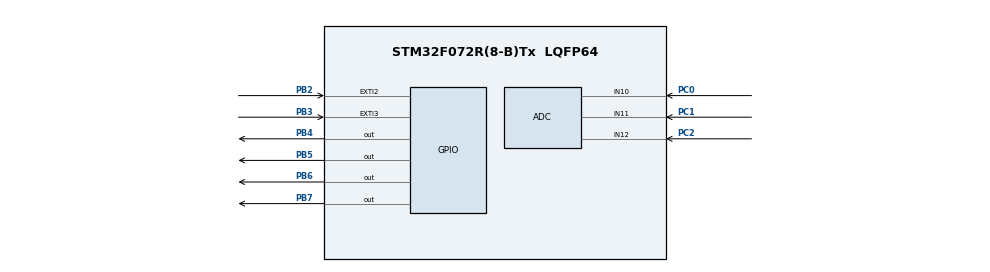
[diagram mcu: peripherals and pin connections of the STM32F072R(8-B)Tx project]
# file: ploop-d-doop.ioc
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Mcu.Family=STM32F0
Mcu.Name=STM32F072R(8-B)Tx
Mcu.Package=LQFP64
NVIC.EXTI2_3_IRQn=true\:0\:0\:false\:false\:true\:true\:true\:true
PA0.Signal=S_TIM2_CH1_ETR
PA1.Signal=S_TIM2_CH2
PB2.Signal=GPXTI2
PB3.Signal=GPXTI3
PB4.Signal=GPIO_Output
PB5.Signal=GPIO_Output
PB6.Signal=GPIO_Output
PB7.Signal=GPIO_Output
PC0.Mode=IN10
PC0.Signal=ADC_IN10
PC1.Mode=IN11
PC1.Signal=ADC_IN11
PC2.Mode=IN12
PC2.Signal=ADC_IN12
ProjectManager.HeapSize=0x200
ProjectManager.StackSize=0x400
ProjectManager.TargetToolchain=MDK-ARM V5.32
SH.S_TIM2_CH1_ETR.0=TIM2_CH1
SH.S_TIM2_CH2.0=TIM2_CH2
board=custom

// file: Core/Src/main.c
/* USER CODE BEGIN Header */
/**
  ******************************************************************************
  * @file           : main.c
  * @brief          : Main program body
  ******************************************************************************
  * @attention
  *
  * Copyright (c) 2023 STMicroelectronics.
  * All rights reserved.
  *
  * This software is licensed under terms that can be found in the LICENSE file
  * in the root directory of this software component.
  * If no LICENSE file comes with this software, it is provided AS-IS.
  *
  ******************************************************************************
  */
/* USER CODE END Header */
#include "main.h"

ADC_HandleTypeDef hadc;

struct LEDs {
  uint8_t red;
  uint8_t orange;
  uint8_t green;
  uint8_t blue;
  void (*set)(struct LEDs*);
} leds;

struct UART_INT {
  void (*transmit)(uint16_t);
} uart;

void SystemClock_Config(void);
static void MX_GPIO_Init(void);
static void MX_ADC_Init(void);

void setLEDs(struct LEDs* this) {
  GPIOC->ODR &= ((this->green << 9) | (this->orange << 8) | (this->blue << 7) | (this->red << 6));
  GPIOC->ODR |= ((this->green << 9) | (this->orange << 8) | (this->blue << 7) | (this->red << 6));
}

void initLEDs(struct LEDs* this) {
  RCC->AHBENR |= RCC_AHBENR_GPIOCEN;
  GPIOC->MODER &= ~(0xFF000);
  GPIOC->MODER |= 0x55000;
  this->red = 0;
  this->orange = 0;
  this->green = 0;
  this->blue = 0;
  this->set = &setLEDs;
}

void transmitValue(uint8_t val) {
  // Wait until our tx reg is ready
  volatile int wait = 1;
  while (wait)
    if (USART3->ISR & 0x80)
      wait = 0;
  // Write to tx reg
  USART3->TDR = val;
}

void transmit2bytes(uint16_t val) {
  transmitValue((uint8_t)(val >> 8));
  transmitValue((uint8_t)val);
}

void transmitChar(char c) {
    // Wait until our tx reg is ready
    volatile int wait = 1;
    while (wait)
        if (USART3->ISR & 0x80)
            wait = 0;
    // Write to tx reg
    USART3->TDR = c;
}

void transmitString(char* s) {
    while (*s != 0) {
        transmitChar(*s++);
    }
}

void initUart(struct UART_INT* this) {
  // Set PC10 and PC11 to alt fx mode
  RCC->AHBENR |= RCC_AHBENR_GPIOCEN;
  GPIOC->MODER &= ~(0xF00000);    // Clear
  GPIOC->MODER |= 0xA00000;   		 // 1010

  // Set PC10 to AF1 for USART3_TX/RX
  GPIOC->AFR[1] &= ~(0xFF00);   	 // Clear
  GPIOC->AFR[1] |= 0x1100;   		 // Set 11 and 10 to 000

  // Enable system clock for USART3
  RCC->APB1ENR |= RCC_APB1ENR_USART3EN;

  // Set Baud rate
  uint64_t t_baud = 9600;
  uint64_t f_clk = SystemCoreClock;
  uint64_t brr = f_clk/t_baud;
  USART3->BRR &= ~(0xFFFFFFFF);   	 // Clear
  USART3->BRR |= brr;

  // Enable tx
  USART3->CR1 |= (1 << 3);

  // Enable rx
  USART3->CR1 |= (1 << 2);

  // Enable rx not-empty interrupt
  USART3->CR1 |= (1 << 5);

  // Enable USART
  USART3->CR1 |= (1 << 0);

  // Enable USART3 interrupt on NVIC
  NVIC_EnableIRQ(USART3_4_IRQn);
  NVIC_SetPriority(USART3_4_IRQn, 1);
  this->transmit = &transmit2bytes;
}

#include <stdint.h>
#include <stdbool.h>
#define NUM_MOTORS 2
#define NUM_SENSORS 3
#define Kp 1            // Proportional gain
#define Ki 1            // Integral gain
#define REDLED (6)
#define BLUELED (7)
#define ORANGELED (8)
#define GREENLED (9)

void stop(void);
void move(uint8_t direction);
void moveForward(void);
void moveRight(void);
void moveBackward(void);
void moveLeft(void);
void hokeyPokey(void);
void initSensors(void);

/* A struct representing the state of a single motor */
struct Motor {
    uint8_t id;                         // Which motor this object represents (1-4)
    int direction;                      // Direction of movement (<0 = reverse; >0 = forward)
    int16_t target_ticks;               // Aka desired speed target
    uint16_t num_ticks;                 // Aka motor speed
    uint16_t error;                     // Speed error signal
    uint16_t error_integral;            // Integrated error signal
    uint16_t error_distance;            // Distance error signal
    void (*spin)(struct Motor*, uint16_t, int);
    void (*stop)(struct Motor*);
    void (*setCycle)(struct Motor*, uint8_t);
    void (*correctError)(struct Motor*, uint64_t);

    // Pointers to the pins that control this motor (convenience variables)
    GPIO_TypeDef *pwmGpio;
    uint8_t pwm_in_pin;
    uint8_t pwm_alt_fxn_code;
    TIM_TypeDef *pwmTimer;

    GPIO_TypeDef *dirGpio;
    uint8_t dir_pin_A;
    uint8_t dir_pin_B;
};

// Order: left, right
struct Motor motors[NUM_MOTORS];
uint64_t encoderCounts[] = { 0, 0};

void initPWM(void);

// Initializes entire class and structure necessary for motion
void initMotion(void);

// Initializes all four motor structs
void initMotors(void);

// Initializes direction pins for all four motors
void initDirection(void);

// Sets up all PWM pins and direction signals to drive the H-Bridges
void initPWMs(void);

// Sets up GPIO inputs for encoder signals + sets up timer for speed check interrupts
void initEncoders(void);

// PI control code is called within a timer interrupt
void PI_update(struct Motor*, uint64_t);

// Set the duty cycle of the PWM, accepts (0-100)
void pwm_setDutyCycle(struct Motor*, uint8_t);

// Go at given speed
void spinMotor(struct Motor*, uint16_t, int);

// Don't go
void stopMotor(struct Motor*);

struct Filter {
  uint64_t fOut;
  uint8_t shft;
  uint64_t (*filter)(struct Filter*, uint16_t fIn);
};

void initFilter(struct Filter* this,
                uint8_t shift,
                uint64_t (*filterFunction)(struct Filter*, uint16_t),
                uint16_t dIn);

uint64_t geometric(struct Filter*, uint16_t fIn);

struct Sensor {
  uint32_t pin;
  uint16_t (*read)(struct Sensor*);
};
struct Sensor sensors[NUM_SENSORS];

void initSensor(struct Sensor*, uint32_t);
uint16_t readSensor(struct Sensor*);

struct SensorData {
  struct Sensor sensor;
  struct Filter filter;
  uint64_t mean; // may need to create a comparator logic class
  uint8_t var;
  uint64_t (*get)(struct SensorData*);
  void (*setMean)(struct SensorData*);
  void (*setVar)(struct SensorData*);
  bool (*diverges)(struct SensorData*);
};

// todo: once we are done testing, can use initSensors instead of initSensorData
void initSensorData(struct SensorData*);
uint64_t getSensorData(struct SensorData*);
void setMean(struct SensorData*);
void setVar(struct SensorData*);
bool diverges(struct SensorData*);

int main(void)
{

  /* MCU Configuration--------------------------------------------------------*/

  /* Reset of all peripherals, Initializes the Flash interface and the Systick. */
  HAL_Init();

  /* USER CODE BEGIN Init */
  initLEDs(&leds);
  initUart(&uart);
  initMotion();
  leds.red = 1;
  leds.set(&leds);

  /* USER CODE END Init */

  /* Configure the system clock */
  SystemClock_Config();

  /* Initialize all configured peripherals */
  MX_GPIO_Init();
  MX_ADC_Init();
  /* USER CODE BEGIN 2 */
  // transmitString("\033[2J\033[H");
  // transmitString("I am here!\r\n");

  /* USER CODE END 2 */
  // todo: comment this in after testing
  //initSensors();

  /* Infinite loop */
  /* USER CODE BEGIN WHILE */
  stop();
  moveForward();
  leds.blue = !leds.blue;
  leds.red = 0;
  leds.set(&leds);
  HAL_Delay(1000);
  stop();
  HAL_Delay(1000);
  while (1)
  {
    leds.red = leds.blue;
    leds.blue = !leds.blue;
    leds.set(&leds);
    HAL_Delay(500);
    /* USER CODE END WHILE */

  }

  // TODO: comment this back in after testing
    // if (DRAG_MODE) {
    //     moveForward();
    // } else {
    //     moveForward();
    //     hokeyPokey();
    // }
}

/**
  * @brief This function handles EXTI line 2 and 3 interrupts.
  */
// void EXTI2_3_IRQHandler(void)
// {
//   /* USER CODE BEGIN EXTI2_3_IRQn 0 */
//   leds.green = !leds.green;
//   leds.set(&leds);

//   /* USER CODE END EXTI2_3_IRQn 0 */
//   HAL_GPIO_EXTI_IRQHandler(GPIO_PIN_2);
//   HAL_GPIO_EXTI_IRQHandler(GPIO_PIN_3);
//   /* USER CODE BEGIN EXTI2_3_IRQn 1 */

//   /* USER CODE END EXTI2_3_IRQn 1 */
// }

void calibrate_ADC_manual() {
  // Ensure ADEN = 0
  if ((ADC1->CR & ADC_CR_ADEN) != 0) {
    // Clear ADEN
    ADC1->CR |= ADC_CR_ADDIS;
  }
  while ((ADC1->CR & ADC_CR_ADEN) != 0) { }
  // Clear DMAEN
  ADC1->CFGR1 &= ~ADC_CFGR1_DMAEN;

  // Launch calibration
  ADC1->CR |= ADC_CR_ADCAL;

  // Wait until ADCAL = 0
  while ((ADC1->CR & ADC_CR_ADCAL) != 0) {
  }
}

void initSensor(struct Sensor* this, uint32_t pinNum) {
  this->pin = pinNum;
  this->read = &readSensor;

  // Configure PC0 to analog mode
  GPIOC->MODER &= ~(0x3);   		 // Clear
  GPIOC->MODER |= 0x3;

  // Enable ADC1 in RCC
  RCC->APB2ENR |= RCC_APB2ENR_ADCEN;

  /*** Configure ADC ***/
  // Set 8-bit resolution
  ADC1->CFGR1 |= (1 << 4);

  // Turn off hardware triggers
  ADC1->CFGR1 &= ~((1 << 10) | (1 << 11));

  // Turn on continuous conversion mode
  ADC1->CFGR1 |= (1 << 13);

  // short analogPin = (1 << 10) | (1 << 13) | (1 << 14);
  short analogPin = (1 << 10);

  ADC1->CHSELR &= ~(analogPin);
  ADC1->CHSELR |=  (analogPin);

  ADC1->CFGR1 &= ~((1 << 10) | (1 << 11));

  calibrate_ADC_manual();

  ADC1->CHSELR &= ~(analogPin);
  ADC1->CHSELR |= 1 << 10;

  // Ensure ADSTP, ADSTART, ADDIS are = 0
  ADC1->CR &= ~(1 << 4); //STP
  ADC1->CR &= ~(1 << 2); //START
  ADC1->CR &= ~(1 << 1); //DIS

  ADC1->CR |= 0x1;

  ADC1->CR |= 1 << 2;
}

uint16_t readSensor(struct Sensor* this) {
  ADC1->CHSELR |= 1 << this->pin;
  // for(volatile int i = 0; i < 2400; i++) {}
  uint16_t data = ADC1->DR;
  ADC1->CHSELR &= ~(1 << this->pin);
  return data;
}

void initSensorData(struct SensorData* this) {
  initSensor(&this->sensor, 0);
  initFilter(&this->filter, 8, &geometric, this->sensor.read(&this->sensor));
  this->get = &getSensorData;
  this->setMean = &setMean;
  this->setVar = &setVar;
  this->diverges = &diverges;
  this->setMean(this);
  this->mean = this->filter.fOut;
  this->setVar(this);
}

uint64_t getSensorData(struct SensorData* this) {
  return this->filter.filter(&this->filter,this->sensor.read(&this->sensor));
}

void setMean(struct SensorData* this) {
  for(uint16_t i = 0; i < (1 <<this->filter.shft); i++)
    this->filter.filter(&this->filter,this->sensor.read(&this->sensor));

  this->mean = this->filter.fOut << this->filter.shft;
  for(uint16_t i = 0; i < (1 << (this->filter.shft)); i++)
    this->mean += this->filter.filter(&this->filter,this->sensor.read(&this->sensor))
                - (this->mean >> this->filter.shft);
  this->mean = this->mean >> (this->filter.shft);
}

void setVar(struct SensorData* this) {
  for(uint16_t i = 0; i < (1 << this->filter.shft); i++)
    this->var +=
        this->filter.filter(&this->filter,this->sensor.read(&this->sensor))
        - this->mean;
  this->var = (this->var >> this->filter.shft);
}

bool diverges(struct SensorData* this) {
  return (this->filter.fOut - this->mean) > 1000;
}

uint64_t geometric(struct Filter* this, uint16_t fIn) {
  this->fOut += fIn - (this->fOut >> this->shft);
  return this->fOut;
}

void initFilter(struct Filter* this,
                uint8_t shift,
                uint64_t (*filterFunction)(struct Filter*, uint16_t),
                uint16_t dIn) {
  this->shft = shift;
  this->fOut = 193 << shift;
  this->filter = filterFunction;
}

void fillDirPins(int *allPins);
// Sets up the entire motor drive system
void initMotion() {
    initMotors();
    initPWM();
    initEncoders();
}

/* Initializes all motors in the forward direction in a stopped state */
void initMotors() {
    int pwm_in_pins[] = {0, 1};
    int mtr_A_dir_pins[] = {4, 5};
    int mtr_B_dir_pins[] = {6, 7};

    for (int i = 0; i < NUM_MOTORS; i++) {
        struct Motor *motor = &(motors[i]);
        motor->id = i + 1; // Range is 1-2
        motor->direction = 1;
        motor->target_ticks = 100;
        motor->num_ticks = 0;
        motor->error = 0;
        motor->error_integral = 0;

        motor->setCycle = &pwm_setDutyCycle;
        motor->correctError = &PI_update;
        motor->spin = &spinMotor;
        motor->stop = &stopMotor;

        motor->pwmGpio = GPIOA;
        motor->pwm_in_pin = pwm_in_pins[i];

        motor->dirGpio = GPIOB;
        switch (i) {
            case 0:
                motor->dir_pin_A = mtr_A_dir_pins[0];
                motor->dir_pin_B = mtr_A_dir_pins[1];
                break;
            case 1:
                motor->dir_pin_A = mtr_B_dir_pins[0];
                motor->dir_pin_B = mtr_B_dir_pins[1];
                break;
        }
    }
}

// Sets up the PWM and direction signals to drive the H-Bridge
void initPWM() {
    RCC->AHBENR |= RCC_AHBENR_GPIOAEN | RCC_AHBENR_GPIOBEN;

    // Set up pin PA0-1 for H-bridge PWM output (TIMER 2 CH1-2)
    GPIOA->MODER |= (1 << 1);
    GPIOA->MODER &= ~(1 << 0);
    GPIOA->MODER |= (1 << 3);
    GPIOA->MODER &= ~(1 << 2);

    // Set PA0-1 to AF1
    GPIOA->AFR[0] &= 0xFFFFFF00; // clear PA4 bits,
    GPIOA->AFR[0] |= (1 << 1);
    GPIOA->AFR[0] |= (1 << 5);

    // Set up GPIO output pins for motor direction control
    int allDirPins[4] = {4, 5, 6, 7};
    GPIOB->MODER &= (0xFF << 4);    // Clear
    for (int i = 0; i < (NUM_MOTORS * 2); i++) {
        int pinIdx = allDirPins[i] * 2;
        GPIOB->MODER &= ~(11 << pinIdx);  // Clear
        GPIOB->MODER |= (1 << pinIdx);    // Assign
    }

    // For each motor, initialize one direction pin to high, the other low
    for (int i = 0; i < (NUM_MOTORS*2); i++) {
        int pinIdx = allDirPins[i];
        // Set pins in even indices high, odd indices low
        if (i%2 == 0) {
            GPIOB->ODR |= (1 << pinIdx);
        } else {
            GPIOB->ODR &= ~(1 << pinIdx);
        }
    }

    // Set up PWM timer
    RCC->APB1ENR |= RCC_APB1ENR_TIM2EN;
    TIM2->CR1 = 0;                          // Clears; defaults to edge-aligned upcounting
    TIM2->CCMR1 = 0;                        // (prevents having to manually clear bits)
    TIM2->CCER = 0;

    // Set output-compare CH1-4 to PWM1 mode and enable CCR1 preload buffer
    TIM2->CCMR1 |= (TIM_CCMR1_OC1M_2 | TIM_CCMR1_OC1M_1); //| TIM_CCMR1_OC1PE); // Enable channel 1
    TIM2->CCMR1 |= (TIM_CCMR1_OC2M_2 | TIM_CCMR1_OC2M_1); //| TIM_CCMR1_OC2PE); // Enable channel 2

    TIM2->CCER |= (TIM_CCER_CC1E | TIM_CCER_CC2E);        // Enable capture-compare channel 1-2
    TIM2->PSC = 1;                         // Run timer on 24Mhz
    TIM2->ARR = 2400;                      // PWM at 20kHz

    TIM2->CCR1 = 2000;                        // Start PWMs at 0% duty cycle
    TIM2->CCR2 = 2000;

    TIM2->CR1 |= TIM_CR1_CEN;              // Enable timer

    // DEBUGGING
    //TIM2->EGR |= 1; // todo: forces register update
}

/* Sets up four GPIO pins for inputs and enable interrupts on rising and falling edge of encoder wave.
 * Sets up timer for speed calculation and PI updates. */
void initEncoders() {
    // Enable EXTI in NVIC
    RCC->AHBENR |= RCC_AHBENR_GPIOBEN;
    __HAL_RCC_SYSCFG_CLK_ENABLE();

    // GPIOB2-3
    // Clear to input mode
    GPIOB->MODER &= ~(1 << 5);
    GPIOB->MODER &= ~(1 << 4);
    GPIOB->MODER &= ~(1 << 7);
    GPIOB->MODER &= ~(1 << 6);

    // Clear to low speed
    GPIOB->OSPEEDR &= ~(1 << 5);
    GPIOB->OSPEEDR &= ~(1 << 4);
    GPIOB->OSPEEDR &= ~(1 << 7);
    GPIOB->OSPEEDR &= ~(1 << 6);

    // Set up pull-up resistor
    GPIOB->PUPDR &= ~(1 << 5);
    GPIOB->PUPDR &= ~(1 << 4);
    GPIOB->PUPDR |= (1 << 4);
    GPIOB->PUPDR &= ~(1 << 5);
    GPIOB->PUPDR &= ~(1 << 4);
    GPIOB->PUPDR |= (1 << 4);

    // Turn on interrupts
    EXTI->IMR &= ~(1 << 2);
    EXTI->IMR |= (1 << 2);
    EXTI->IMR &= ~(1 << 3);
    EXTI->IMR |= (1 << 3);

    // Turn on rising trigger
    EXTI->RTSR &= ~(1 << 2);
    EXTI->RTSR |= (1 << 2);
    EXTI->RTSR &= ~(1 << 3);
    EXTI->RTSR |= (1 << 3);

    // Turn on falling trigger
    EXTI->FTSR &= ~(1 << 2);
    EXTI->FTSR |= (1 << 2);
    EXTI->FTSR &= ~(1 << 3);
    EXTI->FTSR |= (1 << 3);

    // Enable SYSCFG peripheral (this is on APB2 bus)
    RCC->APB2RSTR |= RCC_APB2RSTR_SYSCFGRST;
    __HAL_RCC_SYSCFG_CLK_ENABLE();
    // uint32_t tmp = 0;
    // while(tmp != 0) {
    //     RCC->APB2ENR |= RCC_APB2ENR_SYSCFGCOMPEN;
    //     tmp = RCC->APB2ENR & RCC_APB2ENR_SYSCFGEN;
    // }
    // todo: is this correct or do we need to do more to enable here?

    // Configure multiplexer to route PA2-3 to EXTI1
    SYSCFG->EXTICR[0] |= SYSCFG_EXTICR1_EXTI2_PB | SYSCFG_EXTICR1_EXTI3_PB;

    // Enable interrupts
    NVIC_EnableIRQ(EXTI2_3_IRQn);
    NVIC_SetPriority(EXTI2_3_IRQn, 1);

    // Configure a second timer (TIM6) to fire an ISR on update event
    // Used to periodically check and update speed variable
    RCC->APB1ENR |= RCC_APB1ENR_TIM6EN;

    // Select PSC and ARR values that give an appropriate interrupt rate
    TIM6->PSC = 11;
    TIM6->ARR = 30000;

    TIM6->DIER |= TIM_DIER_UIE;             // Enable update event interrupt
    TIM6->CR1 |= TIM_CR1_CEN;               // Enable Timer

    NVIC_EnableIRQ(TIM6_DAC_IRQn);          // Enable interrupt in NVIC
    NVIC_SetPriority(TIM6_DAC_IRQn, 2);
}

// Encoder interrupt to calculate motor speed, also manages PI controller
void TIM6_DAC_IRQHandler(void) {
    /* Calculate the motor speed in raw encoder counts
     * Note the motor speed is signed! Motor can be run in reverse.
     * Speed is measured by how far the counter moved from center point
     */
    // transmitString("TIM6 is here\r\n");

    uint64_t tickSum = 0;
    for (int i = 0; i < NUM_MOTORS; i++) {
        struct Motor *motor = &motors[i];
        motor->num_ticks = encoderCounts[i];    // Assign count value to appropriate struct
        tickSum += encoderCounts[i];
        encoderCounts[i] = 0;                   // Reset
    }
    uint64_t avgTicks = tickSum / NUM_MOTORS;
    for (int i = 0; i < NUM_MOTORS; i++) {
        struct Motor *motor = &motors[i];
        motor->correctError(motor, avgTicks);
    }
    TIM6->SR &= ~TIM_SR_UIF;        // Acknowledge the interrupt
//    leds.green = 0;
//    leds.set(&leds);
}

/* The handler fired for each tick interrupt.
 * Increments the appropriate count variable according to which encoder fired the event. */
void EXTI2_3_IRQHandler(void) {
    // transmitString("EXTI2_3_IRQHandler is here\r\n");

    HAL_GPIO_EXTI_IRQHandler(GPIO_PIN_2);
    HAL_GPIO_EXTI_IRQHandler(GPIO_PIN_3);

    // NOTE: there is no way to make this pin agnostic, have to manually update consts below if pins are changed
    int ENC_PINS[] = {2, 3};
    int COUNT_IDX_OFFSET = 7;

    // Check which bit is pending (represents which encoder fired tick interrupt)
    for (int i = 0; i < NUM_MOTORS; i++) {
        int pinIdx = ENC_PINS[i];

        uint16_t pinIsPending = EXTI->PR & (1 << pinIdx);
        if (pinIsPending) {
            // Get corresponding count index and increment
            int countIdx = pinIdx - COUNT_IDX_OFFSET;
            encoderCounts[countIdx] += 1;

            // Clear pending interrupt flag
            EXTI->PR &= ~(1 << pinIdx);
        }
    }

//    leds.green = 0;
//    leds.set(&leds);
}

// Calculates error for single motor and resets PWM signal
void PI_update(struct Motor *this, uint64_t avgDist) {

    // Calculate error signal
    this->error = (this->target_ticks - this->num_ticks);

    // Calculate integral error
    this->error_integral += this->error;

    // Clamp the value of the integral to a positive range
    this->error_integral = (this->error_integral > 3200) ? 3200 : this->error_integral;
    this->error_integral = (this->error_integral > 0) ? 0 : this->error_integral;

    // Calculate mean distance traveled by both wheels (in units of ticks)
    this->error_distance = avgDist - this->error_distance;

    // Calculate proportional error & add to output
    int16_t output = Ki * this->error_integral + Kp * this->error;

    // Divide output to get value into proper range (0-100)
    output = output >> 5;

    // Clamp the value for PWM input range
    output = (output > 100) ? 100 : (output < 0) ? 0 : output;

    this->setCycle(this, output);
}

// Set the duty cycle of the PWM, accepts (0-100)
void pwm_setDutyCycle(struct Motor *this, uint8_t duty) {
    uint32_t TEST_VAL = 1000;
    if(duty <= 100) {

//        // DEBUGGING
//        leds.orange = 1;
//        leds.set(&leds);

        // uint32_t autoReload = this->pwmTimer->ARR;
        uint8_t motorIdx = this->id;
        switch (motorIdx) {
            case 1:
                // todo: change this back after testing
                //this->pwmTimer->CCR1 = ((uint32_t)duty * autoReload)/100;  // Use linear transform to produce CCR1 value
                TIM2->CCR1 = TEST_VAL;
                break;
            case 2:
                //this->pwmTimer->CCR2 = ((uint32_t)duty * autoReload)/100;  // Use linear transform to produce CCR1 value
                TIM2->CCR2 = TEST_VAL;
                break;
        }

//        // DEBUGGING
//        leds.orange = 0;
//        leds.set(&leds);
    }
}

/* Sets the target RPM and direction for this motor */
// todo: we are getting through this
void spinMotor(struct Motor *this, uint16_t targetRpm, int dir) {
  leds.orange = 1;
  leds.set(&leds);
    if (targetRpm > 0) {
        this->target_ticks = targetRpm;
        uint8_t pinIdxA = this->dir_pin_A;
        uint8_t pinIdxB = this->dir_pin_B;

        if (dir > 0) {
            // Pin A to high, pin B to low
            this->dirGpio->ODR |= (1 << pinIdxA);
            this->dirGpio->ODR &= ~(1 << pinIdxB);
        } else if (dir < 0) {
            this->dirGpio->ODR |= (1 << pinIdxB);
            this->dirGpio->ODR &= ~(1 << pinIdxA);
        }
    }
}

/* Mode used for obstacle course */
void hokeyPokey() {
    int THRESHOLD_DIST = 10;

    struct Sensor *left_sensor = &(sensors[0]);
    struct Sensor *center_sensor = &(sensors[1]);
    struct Sensor *right_sensor = &(sensors[2]);

    // Poll values in sensors
    while(1) {
        uint16_t left_dist = left_sensor->read(left_sensor);
        uint16_t center_dist = center_sensor->read(center_sensor);
        uint16_t right_dist = right_sensor->read(right_sensor);

        // Stop if any of our sensors have a close value
        if ((left_dist > THRESHOLD_DIST) || (center_dist > THRESHOLD_DIST) || (right_dist > THRESHOLD_DIST)) {
            stop();
        }

        int leftDetect = left_dist - THRESHOLD_DIST > 0;
        int centerDetect = center_dist = THRESHOLD_DIST > 0;
        int rightDetect = right_dist - THRESHOLD_DIST > 0;

        // todo: fill in
        if (leftDetect && centerDetect && rightDetect) {

        } else if (leftDetect && centerDetect) {

        } else if (rightDetect && centerDetect) {

        } else if (leftDetect && rightDetect) {

        } else if (leftDetect) {

        } else if (centerDetect) {

        } else if (rightDetect) {

        } else {
            moveForward();
        }
        // todo: add delay here
    }
}

/* Stops the motor by setting the target RPM to zero. Does not affect direction. */
void stopMotor(struct Motor *this) {
    this->target_ticks = 0;
}

// Convenience methods
void stop() {
    move(0);
}

void moveForward() {
    move(1);
}

void moveRight() {
    move(2);
}

void moveBackward() {
    move(3);
}

void moveLeft() {
    move(4);
}

// Actual movement logic
void move(uint8_t direction) {
    const int FORWARD = 1;
    const int REVERSE = -1;
    const int TARGET_RPM = 100; // todo: placeholder

    struct Motor *left = &motors[0];
    struct Motor *right = &motors[1];

    leds.green = 1;
    leds.set(&leds);

    switch (direction) {
        case 0: // Stop
            motors[0].stop(&(motors[0]));
            motors[1].stop(&(motors[1]));
            break;
        case 1: // Forward
            left->spin(left, TARGET_RPM, FORWARD);
            right->spin(right, TARGET_RPM, FORWARD);
            break;
        case 2: // Right
            left->spin(left, TARGET_RPM, FORWARD);
            right->spin(right, TARGET_RPM, REVERSE);
            break;
        case 3: // Backward
            left->spin(left, TARGET_RPM, REVERSE);
            right->spin(right, TARGET_RPM, REVERSE);
            break;
        case 4: // Left
            left->spin(left, TARGET_RPM, REVERSE);
            right->spin(right, TARGET_RPM, FORWARD);
            break;
    }

    leds.orange = 1;
    leds.set(&leds);
}

/* Initializes three IR sensors */
void initSensors() {
    uint32_t sensorPins[3] = {0, 1, 2};
    for (int i = 0; i < NUM_SENSORS; i++) {
        struct Sensor *sensor = &(sensors[i]);
        initSensor(sensor, sensorPins[i]);
    }
    // todo: may need to init filter here too
}

void SystemClock_Config(void)
{
  RCC_OscInitTypeDef RCC_OscInitStruct = {0};
  RCC_ClkInitTypeDef RCC_ClkInitStruct = {0};

  /** Initializes the RCC Oscillators according to the specified parameters
  * in the RCC_OscInitTypeDef structure.
  */
  RCC_OscInitStruct.OscillatorType = RCC_OSCILLATORTYPE_HSI|RCC_OSCILLATORTYPE_HSI14;
  RCC_OscInitStruct.HSIState = RCC_HSI_ON;
  RCC_OscInitStruct.HSI14State = RCC_HSI14_ON;
  RCC_OscInitStruct.HSICalibrationValue = RCC_HSICALIBRATION_DEFAULT;
  RCC_OscInitStruct.HSI14CalibrationValue = 16;
  RCC_OscInitStruct.PLL.PLLState = RCC_PLL_NONE;
  if (HAL_RCC_OscConfig(&RCC_OscInitStruct) != HAL_OK)
  {
    Error_Handler();
  }

  /** Initializes the CPU, AHB and APB buses clocks
  */
  RCC_ClkInitStruct.ClockType = RCC_CLOCKTYPE_HCLK|RCC_CLOCKTYPE_SYSCLK
                              |RCC_CLOCKTYPE_PCLK1;
  RCC_ClkInitStruct.SYSCLKSource = RCC_SYSCLKSOURCE_HSI;
  RCC_ClkInitStruct.AHBCLKDivider = RCC_SYSCLK_DIV1;
  RCC_ClkInitStruct.APB1CLKDivider = RCC_HCLK_DIV1;

  if (HAL_RCC_ClockConfig(&RCC_ClkInitStruct, FLASH_LATENCY_0) != HAL_OK)
  {
    Error_Handler();
  }
}

static void MX_ADC_Init(void)
{

  ADC_ChannelConfTypeDef sConfig = {0};

  /** Configure the global features of the ADC (Clock, Resolution, Data Alignment and number of conversion)
  */
  hadc.Instance = ADC1;
  hadc.Init.ClockPrescaler = ADC_CLOCK_ASYNC_DIV1;
  hadc.Init.Resolution = ADC_RESOLUTION_12B;
  hadc.Init.DataAlign = ADC_DATAALIGN_RIGHT;
  hadc.Init.ScanConvMode = ADC_SCAN_DIRECTION_FORWARD;
  hadc.Init.EOCSelection = ADC_EOC_SINGLE_CONV;
  hadc.Init.LowPowerAutoWait = DISABLE;
  hadc.Init.LowPowerAutoPowerOff = DISABLE;
  hadc.Init.ContinuousConvMode = DISABLE;
  hadc.Init.DiscontinuousConvMode = DISABLE;
  hadc.Init.ExternalTrigConv = ADC_SOFTWARE_START;
  hadc.Init.ExternalTrigConvEdge = ADC_EXTERNALTRIGCONVEDGE_NONE;
  hadc.Init.DMAContinuousRequests = DISABLE;
  hadc.Init.Overrun = ADC_OVR_DATA_PRESERVED;
  if (HAL_ADC_Init(&hadc) != HAL_OK)
  {
    Error_Handler();
  }

  /** Configure for the selected ADC regular channel to be converted.
  */
  sConfig.Channel = ADC_CHANNEL_10;
  sConfig.Rank = ADC_RANK_CHANNEL_NUMBER;
  sConfig.SamplingTime = ADC_SAMPLETIME_1CYCLE_5;
  if (HAL_ADC_ConfigChannel(&hadc, &sConfig) != HAL_OK)
  {
    Error_Handler();
  }

  /** Configure for the selected ADC regular channel to be converted.
  */
  sConfig.Channel = ADC_CHANNEL_11;
  if (HAL_ADC_ConfigChannel(&hadc, &sConfig) != HAL_OK)
  {
    Error_Handler();
  }

  /** Configure for the selected ADC regular channel to be converted.
  */
  sConfig.Channel = ADC_CHANNEL_12;
  if (HAL_ADC_ConfigChannel(&hadc, &sConfig) != HAL_OK)
  {
    Error_Handler();
  }

}

static void MX_GPIO_Init(void)
{
  GPIO_InitTypeDef GPIO_InitStruct = {0};

  /* GPIO Ports Clock Enable */
  __HAL_RCC_GPIOC_CLK_ENABLE();
  __HAL_RCC_GPIOA_CLK_ENABLE();
  __HAL_RCC_GPIOB_CLK_ENABLE();

  /*Configure GPIO pin Output Level */
  HAL_GPIO_WritePin(GPIOB, GPIO_PIN_4|GPIO_PIN_5|GPIO_PIN_6|GPIO_PIN_7, GPIO_PIN_RESET);

  /*Configure GPIO pins : PA0 PA1 */
  GPIO_InitStruct.Pin = GPIO_PIN_0|GPIO_PIN_1;
  GPIO_InitStruct.Mode = GPIO_MODE_AF_PP;
  GPIO_InitStruct.Pull = GPIO_NOPULL;
  GPIO_InitStruct.Speed = GPIO_SPEED_FREQ_LOW;
  GPIO_InitStruct.Alternate = GPIO_AF2_TIM2;
  HAL_GPIO_Init(GPIOA, &GPIO_InitStruct);

  /*Configure GPIO pins : PB2 PB3 */
  GPIO_InitStruct.Pin = GPIO_PIN_2|GPIO_PIN_3;
  GPIO_InitStruct.Mode = GPIO_MODE_IT_RISING_FALLING;
  GPIO_InitStruct.Pull = GPIO_NOPULL;
  HAL_GPIO_Init(GPIOB, &GPIO_InitStruct);

  /*Configure GPIO pins : PB4 PB5 PB6 PB7 */
  GPIO_InitStruct.Pin = GPIO_PIN_4|GPIO_PIN_5|GPIO_PIN_6|GPIO_PIN_7;
  GPIO_InitStruct.Mode = GPIO_MODE_OUTPUT_PP;
  GPIO_InitStruct.Pull = GPIO_NOPULL;
  GPIO_InitStruct.Speed = GPIO_SPEED_FREQ_LOW;
  HAL_GPIO_Init(GPIOB, &GPIO_InitStruct);

  /* EXTI interrupt init*/
  HAL_NVIC_SetPriority(EXTI2_3_IRQn, 0, 0);
  HAL_NVIC_EnableIRQ(EXTI2_3_IRQn);

}

void Error_Handler(void)
{
  __disable_irq();
  while (1)
  {
  }
}
